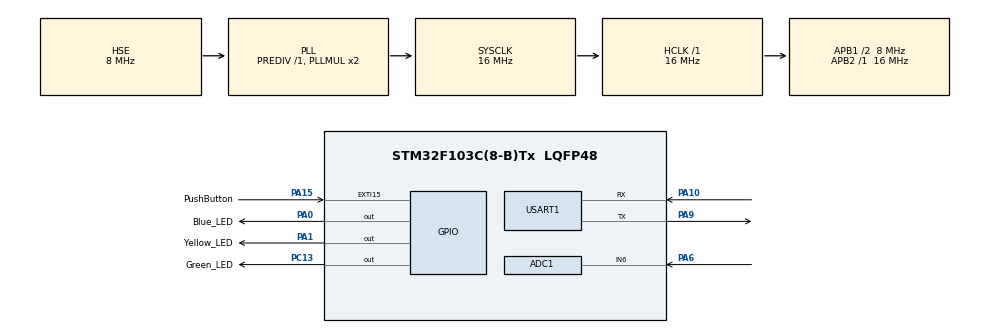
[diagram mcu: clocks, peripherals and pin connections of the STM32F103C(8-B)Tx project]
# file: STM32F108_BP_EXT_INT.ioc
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ADC1.Channel-1\#ChannelRegularConversion=ADC_CHANNEL_6
ADC1.NbrOfConversionFlag=1
ADC1.Rank-1\#ChannelRegularConversion=1
ADC1.SamplingTime-1\#ChannelRegularConversion=ADC_SAMPLETIME_239CYCLES_5
ADC1.master=1
Dma.Request0=USART1_RX
Dma.USART1_RX.0.Direction=DMA_PERIPH_TO_MEMORY
Dma.USART1_RX.0.Instance=DMA1_Channel5
Dma.USART1_RX.0.MemDataAlignment=DMA_MDATAALIGN_BYTE
Dma.USART1_RX.0.MemInc=DMA_MINC_ENABLE
Dma.USART1_RX.0.Mode=DMA_NORMAL
Dma.USART1_RX.0.PeriphDataAlignment=DMA_PDATAALIGN_BYTE
Dma.USART1_RX.0.PeriphInc=DMA_PINC_DISABLE
Dma.USART1_RX.0.Priority=DMA_PRIORITY_LOW
Mcu.Family=STM32F1
Mcu.Name=STM32F103C(8-B)Tx
Mcu.Package=LQFP48
NVIC.ADC1_2_IRQn=true\:0\:0\:false\:false\:true\:true\:true\:true
NVIC.DMA1_Channel5_IRQn=true\:0\:0\:false\:false\:true\:false\:true\:true
NVIC.EXTI15_10_IRQn=true\:0\:0\:false\:false\:true\:true\:true\:true
NVIC.PriorityGroup=NVIC_PRIORITYGROUP_4
NVIC.USART1_IRQn=true\:0\:0\:false\:false\:true\:true\:true\:true
PA0-WKUP.GPIO_Label=Blue_LED
PA0-WKUP.Signal=GPIO_Output
PA1.GPIO_Label=Yellow_LED
PA1.Signal=GPIO_Output
PA10.Mode=Asynchronous
PA10.Signal=USART1_RX
PA13.Mode=Serial_Wire
PA13.Signal=SYS_JTMS-SWDIO
PA14.Mode=Serial_Wire
PA14.Signal=SYS_JTCK-SWCLK
PA15.GPIO_Label=PushButton
PA15.Signal=GPXTI15
PA6.Signal=ADCx_IN6
PA9.Mode=Asynchronous
PA9.Signal=USART1_TX
PC13-TAMPER-RTC.GPIO_Label=Green_LED
PC13-TAMPER-RTC.Signal=GPIO_Output
PD0-OSC_IN.Mode=HSE-External-Oscillator
PD0-OSC_IN.Signal=RCC_OSC_IN
PD1-OSC_OUT.Mode=HSE-External-Oscillator
PD1-OSC_OUT.Signal=RCC_OSC_OUT
ProjectManager.HeapSize=0x200
ProjectManager.StackSize=0x400
ProjectManager.TargetToolchain=CMake
RCC.AHBFreq_Value=16000000
RCC.APB1CLKDivider=RCC_HCLK_DIV2
RCC.APB1Freq_Value=8000000
RCC.APB1TimFreq_Value=16000000
RCC.APB2Freq_Value=16000000
RCC.APB2TimFreq_Value=16000000
RCC.HCLKFreq_Value=16000000
RCC.PLLSourceVirtual=RCC_PLLSOURCE_HSE
RCC.SYSCLKFreq_VALUE=16000000
RCC.SYSCLKSource=RCC_SYSCLKSOURCE_PLLCLK
RCC.USBFreq_Value=16000000
SH.ADCx_IN6.0=ADC1_IN6,IN6
USART1.VirtualMode=VM_ASYNC
board=custom

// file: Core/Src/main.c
/* USER CODE BEGIN Header */
/**
  ******************************************************************************
  * @file           : main.c
  * @brief          : Main program body
  ******************************************************************************
  * @attention
  *
  * Copyright (c) 2025 STMicroelectronics.
  * All rights reserved.
  *
  * This software is licensed under terms that can be found in the LICENSE file
  * in the root directory of this software component.
  * If no LICENSE file comes with this software, it is provided AS-IS.
  *
  ******************************************************************************
  */
/* USER CODE END Header */
#include "main.h"

/* USER CODE BEGIN Includes */
#include <string.h>

/* USER CODE END Includes */

ADC_HandleTypeDef hadc1;

UART_HandleTypeDef huart1;
DMA_HandleTypeDef hdma_usart1_rx;

void SystemClock_Config(void);
static void MX_GPIO_Init(void);
static void MX_DMA_Init(void);
static void MX_USART1_UART_Init(void);
static void MX_ADC1_Init(void);

/* USER CODE BEGIN 0 */

void LED_LOOP(void) {
  HAL_GPIO_TogglePin(Green_LED_GPIO_Port, Green_LED_Pin);
  HAL_Delay(100);
  HAL_GPIO_TogglePin(Blue_LED_GPIO_Port, Blue_LED_Pin);
  HAL_Delay(100);
  HAL_GPIO_TogglePin(Yellow_LED_GPIO_Port, Yellow_LED_Pin);
  HAL_Delay(100);
}

uint8_t button_pressed = 0;
void HAL_GPIO_EXTI_Callback(uint16_t GPIO_Pin) {
  if (GPIO_Pin == PushButton_Pin) {
    button_pressed = !button_pressed;
    HAL_GPIO_TogglePin(Green_LED_GPIO_Port, Green_LED_Pin);
  }
}

#define Rx_Buffer_Size 10
#define Main_Buffer_Size 20

uint8_t Rx_Buffer[Rx_Buffer_Size] = {0};
uint8_t Main_Buffer[Main_Buffer_Size] = {0};

uint8_t old_pos = 0;
uint8_t new_pos = 0;

uint8_t isOK = 0;

void HAL_UARTEx_RxEventCallback(UART_HandleTypeDef *huart, uint16_t Size) {

  if (huart->Instance == USART1) {

    old_pos = new_pos; // Store the old position

    if (old_pos + Size > Main_Buffer_Size) {

      uint16_t data_to_copy = Main_Buffer_Size - old_pos;
      memcpy((uint8_t *)Main_Buffer + old_pos, Rx_Buffer, data_to_copy); // Copy the first part of the data

      old_pos = 0; // Reset the old position
      memcpy((uint8_t *)Main_Buffer, (uint8_t *)Rx_Buffer + data_to_copy, Size - data_to_copy); // Copy the remaining part of the data
      new_pos = Size - data_to_copy; // Update the new position

    } else {

      memcpy((uint8_t *)Main_Buffer + old_pos, Rx_Buffer, Size); // Copy the data to Main_Buffer
      new_pos = old_pos + Size; // Update the new position

    }

    HAL_UARTEx_ReceiveToIdle_DMA(&huart1, Rx_Buffer, Rx_Buffer_Size); // Re-enable the DMA reception
    __HAL_DMA_DISABLE_IT(&hdma_usart1_rx, DMA_IT_HT); // Disable half transfer interrupt since we are using full transfer
  }

  // Process the received data in Main_Buffer here (TINY AMOUNT ONLY
  for (int i = 0; i < Size; i++) {
    if (Rx_Buffer[i] == 'O' && Rx_Buffer[i + 1] == 'K') {
      HAL_GPIO_TogglePin(Green_LED_GPIO_Port, Green_LED_Pin);
      isOK = !isOK;
    }
  }
}

/* USER CODE END 0 */

int main(void)
{

  /* MCU Configuration--------------------------------------------------------*/

  /* Reset of all peripherals, Initializes the Flash interface and the Systick. */
  HAL_Init();

  /* Configure the system clock */
  SystemClock_Config();

  /* Initialize all configured peripherals */
  MX_GPIO_Init();
  MX_DMA_Init();
  MX_USART1_UART_Init();
  MX_ADC1_Init();
  /* USER CODE BEGIN 2 */

  HAL_UARTEx_ReceiveToIdle_DMA(&huart1, Rx_Buffer, Rx_Buffer_Size);
  __HAL_DMA_DISABLE_IT(&hdma_usart1_rx, DMA_IT_HT);

  /* USER CODE END 2 */

  /* Infinite loop */
  while (1)
  {

    /* USER CODE BEGIN 3 */
    HAL_Delay(1000);
    if (button_pressed) {
      LED_LOOP();
    } else {
      HAL_GPIO_TogglePin(Green_LED_GPIO_Port, Green_LED_Pin);
      HAL_GPIO_WritePin(Blue_LED_GPIO_Port, Blue_LED_Pin, GPIO_PIN_RESET);
      HAL_GPIO_WritePin(Yellow_LED_GPIO_Port, Yellow_LED_Pin, GPIO_PIN_RESET);
      HAL_Delay(1000);
    }

  }
  /* USER CODE END 3 */
}

void SystemClock_Config(void)
{
  RCC_OscInitTypeDef RCC_OscInitStruct = {0};
  RCC_ClkInitTypeDef RCC_ClkInitStruct = {0};
  RCC_PeriphCLKInitTypeDef PeriphClkInit = {0};

  /** Initializes the RCC Oscillators according to the specified parameters
  * in the RCC_OscInitTypeDef structure.
  */
  RCC_OscInitStruct.OscillatorType = RCC_OSCILLATORTYPE_HSE;
  RCC_OscInitStruct.HSEState = RCC_HSE_ON;
  RCC_OscInitStruct.HSEPredivValue = RCC_HSE_PREDIV_DIV1;
  RCC_OscInitStruct.HSIState = RCC_HSI_ON;
  RCC_OscInitStruct.PLL.PLLState = RCC_PLL_ON;
  RCC_OscInitStruct.PLL.PLLSource = RCC_PLLSOURCE_HSE;
  RCC_OscInitStruct.PLL.PLLMUL = RCC_PLL_MUL2;
  if (HAL_RCC_OscConfig(&RCC_OscInitStruct) != HAL_OK)
  {
    Error_Handler();
  }

  /** Initializes the CPU, AHB and APB buses clocks
  */
  RCC_ClkInitStruct.ClockType = RCC_CLOCKTYPE_HCLK|RCC_CLOCKTYPE_SYSCLK
                              |RCC_CLOCKTYPE_PCLK1|RCC_CLOCKTYPE_PCLK2;
  RCC_ClkInitStruct.SYSCLKSource = RCC_SYSCLKSOURCE_PLLCLK;
  RCC_ClkInitStruct.AHBCLKDivider = RCC_SYSCLK_DIV1;
  RCC_ClkInitStruct.APB1CLKDivider = RCC_HCLK_DIV2;
  RCC_ClkInitStruct.APB2CLKDivider = RCC_HCLK_DIV1;

  if (HAL_RCC_ClockConfig(&RCC_ClkInitStruct, FLASH_LATENCY_0) != HAL_OK)
  {
    Error_Handler();
  }
  PeriphClkInit.PeriphClockSelection = RCC_PERIPHCLK_ADC;
  PeriphClkInit.AdcClockSelection = RCC_ADCPCLK2_DIV2;
  if (HAL_RCCEx_PeriphCLKConfig(&PeriphClkInit) != HAL_OK)
  {
    Error_Handler();
  }
}

static void MX_ADC1_Init(void)
{

  ADC_ChannelConfTypeDef sConfig = {0};

  /** Common config
  */
  hadc1.Instance = ADC1;
  hadc1.Init.ScanConvMode = ADC_SCAN_DISABLE;
  hadc1.Init.ContinuousConvMode = DISABLE;
  hadc1.Init.DiscontinuousConvMode = DISABLE;
  hadc1.Init.ExternalTrigConv = ADC_SOFTWARE_START;
  hadc1.Init.DataAlign = ADC_DATAALIGN_RIGHT;
  hadc1.Init.NbrOfConversion = 1;
  if (HAL_ADC_Init(&hadc1) != HAL_OK)
  {
    Error_Handler();
  }

  /** Configure Regular Channel
  */
  sConfig.Channel = ADC_CHANNEL_6;
  sConfig.Rank = ADC_REGULAR_RANK_1;
  sConfig.SamplingTime = ADC_SAMPLETIME_239CYCLES_5;
  if (HAL_ADC_ConfigChannel(&hadc1, &sConfig) != HAL_OK)
  {
    Error_Handler();
  }

}

static void MX_USART1_UART_Init(void)
{

  huart1.Instance = USART1;
  huart1.Init.BaudRate = 115200;
  huart1.Init.WordLength = UART_WORDLENGTH_8B;
  huart1.Init.StopBits = UART_STOPBITS_1;
  huart1.Init.Parity = UART_PARITY_NONE;
  huart1.Init.Mode = UART_MODE_TX_RX;
  huart1.Init.HwFlowCtl = UART_HWCONTROL_NONE;
  huart1.Init.OverSampling = UART_OVERSAMPLING_16;
  if (HAL_UART_Init(&huart1) != HAL_OK)
  {
    Error_Handler();
  }

}

static void MX_DMA_Init(void)
{

  /* DMA controller clock enable */
  __HAL_RCC_DMA1_CLK_ENABLE();

  /* DMA interrupt init */
  /* DMA1_Channel5_IRQn interrupt configuration */
  HAL_NVIC_SetPriority(DMA1_Channel5_IRQn, 0, 0);
  HAL_NVIC_EnableIRQ(DMA1_Channel5_IRQn);

}

static void MX_GPIO_Init(void)
{
  GPIO_InitTypeDef GPIO_InitStruct = {0};

  /* GPIO Ports Clock Enable */
  __HAL_RCC_GPIOC_CLK_ENABLE();
  __HAL_RCC_GPIOD_CLK_ENABLE();
  __HAL_RCC_GPIOA_CLK_ENABLE();

  /*Configure GPIO pin Output Level */
  HAL_GPIO_WritePin(Green_LED_GPIO_Port, Green_LED_Pin, GPIO_PIN_RESET);

  /*Configure GPIO pin Output Level */
  HAL_GPIO_WritePin(GPIOA, Blue_LED_Pin|Yellow_LED_Pin, GPIO_PIN_RESET);

  /*Configure GPIO pin : Green_LED_Pin */
  GPIO_InitStruct.Pin = Green_LED_Pin;
  GPIO_InitStruct.Mode = GPIO_MODE_OUTPUT_PP;
  GPIO_InitStruct.Pull = GPIO_NOPULL;
  GPIO_InitStruct.Speed = GPIO_SPEED_FREQ_LOW;
  HAL_GPIO_Init(Green_LED_GPIO_Port, &GPIO_InitStruct);

  /*Configure GPIO pins : Blue_LED_Pin Yellow_LED_Pin */
  GPIO_InitStruct.Pin = Blue_LED_Pin|Yellow_LED_Pin;
  GPIO_InitStruct.Mode = GPIO_MODE_OUTPUT_PP;
  GPIO_InitStruct.Pull = GPIO_NOPULL;
  GPIO_InitStruct.Speed = GPIO_SPEED_FREQ_LOW;
  HAL_GPIO_Init(GPIOA, &GPIO_InitStruct);

  /*Configure GPIO pin : PushButton_Pin */
  GPIO_InitStruct.Pin = PushButton_Pin;
  GPIO_InitStruct.Mode = GPIO_MODE_IT_RISING;
  GPIO_InitStruct.Pull = GPIO_NOPULL;
  HAL_GPIO_Init(PushButton_GPIO_Port, &GPIO_InitStruct);

  /* EXTI interrupt init*/
  HAL_NVIC_SetPriority(EXTI15_10_IRQn, 0, 0);
  HAL_NVIC_EnableIRQ(EXTI15_10_IRQn);

}

void Error_Handler(void)
{
  __disable_irq();
  while (1)
  {
  }
}
